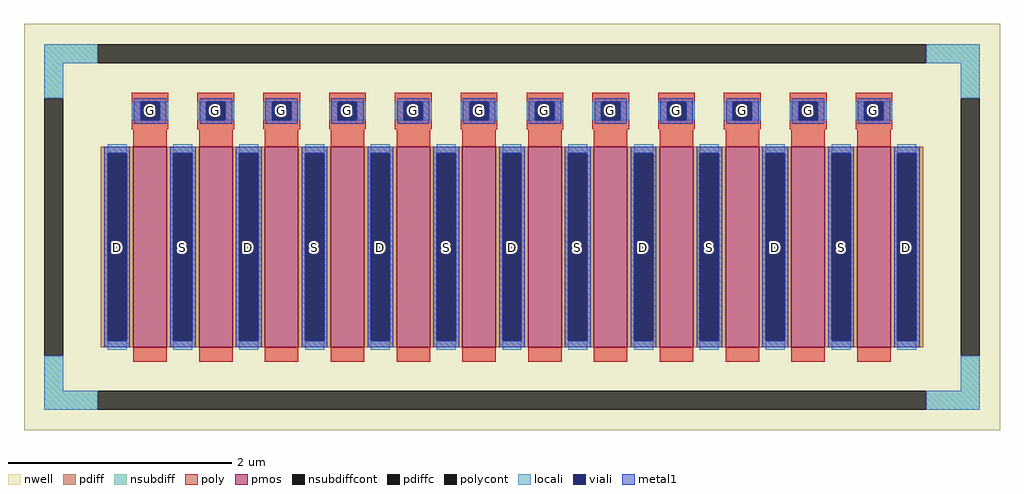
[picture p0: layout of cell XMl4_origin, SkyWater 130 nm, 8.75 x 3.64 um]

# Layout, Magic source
magic
tech sky130A
magscale 1 2
<< nwell >>
rect -875 -364 875 364
<< pmos >>
rect -679 -216 -619 144
rect -561 -216 -501 144
rect -443 -216 -383 144
rect -325 -216 -265 144
rect -207 -216 -147 144
rect -89 -216 -29 144
rect 29 -216 89 144
rect 147 -216 207 144
rect 265 -216 325 144
rect 383 -216 443 144
rect 501 -216 561 144
rect 619 -216 679 144
<< pdiff >>
rect -737 132 -679 144
rect -737 -204 -725 132
rect -691 -204 -679 132
rect -737 -216 -679 -204
rect -619 132 -561 144
rect -619 -204 -607 132
rect -573 -204 -561 132
rect -619 -216 -561 -204
rect -501 132 -443 144
rect -501 -204 -489 132
rect -455 -204 -443 132
rect -501 -216 -443 -204
rect -383 132 -325 144
rect -383 -204 -371 132
rect -337 -204 -325 132
rect -383 -216 -325 -204
rect -265 132 -207 144
rect -265 -204 -253 132
rect -219 -204 -207 132
rect -265 -216 -207 -204
rect -147 132 -89 144
rect -147 -204 -135 132
rect -101 -204 -89 132
rect -147 -216 -89 -204
rect -29 132 29 144
rect -29 -204 -17 132
rect 17 -204 29 132
rect -29 -216 29 -204
rect 89 132 147 144
rect 89 -204 101 132
rect 135 -204 147 132
rect 89 -216 147 -204
rect 207 132 265 144
rect 207 -204 219 132
rect 253 -204 265 132
rect 207 -216 265 -204
rect 325 132 383 144
rect 325 -204 337 132
rect 371 -204 383 132
rect 325 -216 383 -204
rect 443 132 501 144
rect 443 -204 455 132
rect 489 -204 501 132
rect 443 -216 501 -204
rect 561 132 619 144
rect 561 -204 573 132
rect 607 -204 619 132
rect 561 -216 619 -204
rect 679 132 737 144
rect 679 -204 691 132
rect 725 -204 737 132
rect 679 -216 737 -204
<< pdiffc >>
rect -725 -204 -691 132
rect -607 -204 -573 132
rect -489 -204 -455 132
rect -371 -204 -337 132
rect -253 -204 -219 132
rect -135 -204 -101 132
rect -17 -204 17 132
rect 101 -204 135 132
rect 219 -204 253 132
rect 337 -204 371 132
rect 455 -204 489 132
rect 573 -204 607 132
rect 691 -204 725 132
<< nsubdiff >>
rect -839 294 -743 328
rect 743 294 839 328
rect -839 231 -805 294
rect 805 231 839 294
rect -839 -294 -805 -231
rect 805 -294 839 -231
rect -839 -328 -743 -294
rect 743 -328 839 -294
<< nsubdiffcont >>
rect -743 294 743 328
rect -839 -231 -805 231
rect 805 -231 839 231
rect -743 -328 743 -294
<< poly >>
rect -682 225 -616 241
rect -682 191 -666 225
rect -632 191 -616 225
rect -682 175 -616 191
rect -564 225 -498 241
rect -564 191 -548 225
rect -514 191 -498 225
rect -564 175 -498 191
rect -446 225 -380 241
rect -446 191 -430 225
rect -396 191 -380 225
rect -446 175 -380 191
rect -328 225 -262 241
rect -328 191 -312 225
rect -278 191 -262 225
rect -328 175 -262 191
rect -210 225 -144 241
rect -210 191 -194 225
rect -160 191 -144 225
rect -210 175 -144 191
rect -92 225 -26 241
rect -92 191 -76 225
rect -42 191 -26 225
rect -92 175 -26 191
rect 26 225 92 241
rect 26 191 42 225
rect 76 191 92 225
rect 26 175 92 191
rect 144 225 210 241
rect 144 191 160 225
rect 194 191 210 225
rect 144 175 210 191
rect 262 225 328 241
rect 262 191 278 225
rect 312 191 328 225
rect 262 175 328 191
rect 380 225 446 241
rect 380 191 396 225
rect 430 191 446 225
rect 380 175 446 191
rect 498 225 564 241
rect 498 191 514 225
rect 548 191 564 225
rect 498 175 564 191
rect 616 225 682 241
rect 616 191 632 225
rect 666 191 682 225
rect 616 175 682 191
rect -679 144 -619 175
rect -561 144 -501 175
rect -443 144 -383 175
rect -325 144 -265 175
rect -207 144 -147 175
rect -89 144 -29 175
rect 29 144 89 175
rect 147 144 207 175
rect 265 144 325 175
rect 383 144 443 175
rect 501 144 561 175
rect 619 144 679 175
rect -679 -242 -619 -216
rect -561 -242 -501 -216
rect -443 -242 -383 -216
rect -325 -242 -265 -216
rect -207 -242 -147 -216
rect -89 -242 -29 -216
rect 29 -242 89 -216
rect 147 -242 207 -216
rect 265 -242 325 -216
rect 383 -242 443 -216
rect 501 -242 561 -216
rect 619 -242 679 -216
<< polycont >>
rect -666 191 -632 225
rect -548 191 -514 225
rect -430 191 -396 225
rect -312 191 -278 225
rect -194 191 -160 225
rect -76 191 -42 225
rect 42 191 76 225
rect 160 191 194 225
rect 278 191 312 225
rect 396 191 430 225
rect 514 191 548 225
rect 632 191 666 225
<< locali >>
rect -839 294 -743 328
rect 743 294 839 328
rect -839 231 -805 294
rect 805 231 839 294
rect -682 191 -666 225
rect -632 191 -616 225
rect -564 191 -548 225
rect -514 191 -498 225
rect -446 191 -430 225
rect -396 191 -380 225
rect -328 191 -312 225
rect -278 191 -262 225
rect -210 191 -194 225
rect -160 191 -144 225
rect -92 191 -76 225
rect -42 191 -26 225
rect 26 191 42 225
rect 76 191 92 225
rect 144 191 160 225
rect 194 191 210 225
rect 262 191 278 225
rect 312 191 328 225
rect 380 191 396 225
rect 430 191 446 225
rect 498 191 514 225
rect 548 191 564 225
rect 616 191 632 225
rect 666 191 682 225
rect -725 132 -691 148
rect -725 -220 -691 -204
rect -607 132 -573 148
rect -607 -220 -573 -204
rect -489 132 -455 148
rect -489 -220 -455 -204
rect -371 132 -337 148
rect -371 -220 -337 -204
rect -253 132 -219 148
rect -253 -220 -219 -204
rect -135 132 -101 148
rect -135 -220 -101 -204
rect -17 132 17 148
rect -17 -220 17 -204
rect 101 132 135 148
rect 101 -220 135 -204
rect 219 132 253 148
rect 219 -220 253 -204
rect 337 132 371 148
rect 337 -220 371 -204
rect 455 132 489 148
rect 455 -220 489 -204
rect 573 132 607 148
rect 573 -220 607 -204
rect 691 132 725 148
rect 691 -220 725 -204
rect -839 -294 -805 -231
rect 805 -294 839 -231
rect -839 -328 -743 -294
rect 743 -328 839 -294
<< viali >>
rect -666 191 -632 225
rect -548 191 -514 225
rect -430 191 -396 225
rect -312 191 -278 225
rect -194 191 -160 225
rect -76 191 -42 225
rect 42 191 76 225
rect 160 191 194 225
rect 278 191 312 225
rect 396 191 430 225
rect 514 191 548 225
rect 632 191 666 225
rect -725 -204 -691 132
rect -607 -204 -573 132
rect -489 -204 -455 132
rect -371 -204 -337 132
rect -253 -204 -219 132
rect -135 -204 -101 132
rect -17 -204 17 132
rect 101 -204 135 132
rect 219 -204 253 132
rect 337 -204 371 132
rect 455 -204 489 132
rect 573 -204 607 132
rect 691 -204 725 132
<< metal1 >>
rect -678 225 -620 231
rect -678 191 -666 225
rect -632 191 -620 225
rect -678 185 -620 191
rect -560 225 -502 231
rect -560 191 -548 225
rect -514 191 -502 225
rect -560 185 -502 191
rect -442 225 -384 231
rect -442 191 -430 225
rect -396 191 -384 225
rect -442 185 -384 191
rect -324 225 -266 231
rect -324 191 -312 225
rect -278 191 -266 225
rect -324 185 -266 191
rect -206 225 -148 231
rect -206 191 -194 225
rect -160 191 -148 225
rect -206 185 -148 191
rect -88 225 -30 231
rect -88 191 -76 225
rect -42 191 -30 225
rect -88 185 -30 191
rect 30 225 88 231
rect 30 191 42 225
rect 76 191 88 225
rect 30 185 88 191
rect 148 225 206 231
rect 148 191 160 225
rect 194 191 206 225
rect 148 185 206 191
rect 266 225 324 231
rect 266 191 278 225
rect 312 191 324 225
rect 266 185 324 191
rect 384 225 442 231
rect 384 191 396 225
rect 430 191 442 225
rect 384 185 442 191
rect 502 225 560 231
rect 502 191 514 225
rect 548 191 560 225
rect 502 185 560 191
rect 620 225 678 231
rect 620 191 632 225
rect 666 191 678 225
rect 620 185 678 191
rect -731 132 -685 144
rect -731 -204 -725 132
rect -691 -204 -685 132
rect -731 -216 -685 -204
rect -613 132 -567 144
rect -613 -204 -607 132
rect -573 -204 -567 132
rect -613 -216 -567 -204
rect -495 132 -449 144
rect -495 -204 -489 132
rect -455 -204 -449 132
rect -495 -216 -449 -204
rect -377 132 -331 144
rect -377 -204 -371 132
rect -337 -204 -331 132
rect -377 -216 -331 -204
rect -259 132 -213 144
rect -259 -204 -253 132
rect -219 -204 -213 132
rect -259 -216 -213 -204
rect -141 132 -95 144
rect -141 -204 -135 132
rect -101 -204 -95 132
rect -141 -216 -95 -204
rect -23 132 23 144
rect -23 -204 -17 132
rect 17 -204 23 132
rect -23 -216 23 -204
rect 95 132 141 144
rect 95 -204 101 132
rect 135 -204 141 132
rect 95 -216 141 -204
rect 213 132 259 144
rect 213 -204 219 132
rect 253 -204 259 132
rect 213 -216 259 -204
rect 331 132 377 144
rect 331 -204 337 132
rect 371 -204 377 132
rect 331 -216 377 -204
rect 449 132 495 144
rect 449 -204 455 132
rect 489 -204 495 132
rect 449 -216 495 -204
rect 567 132 613 144
rect 567 -204 573 132
rect 607 -204 613 132
rect 567 -216 613 -204
rect 685 132 731 144
rect 685 -204 691 132
rect 725 -204 731 132
rect 685 -216 731 -204
<< labels >>
flabel metal1 -649 208 -649 208 0 FreeSans 240 0 0 0 G
flabel metal1 -531 208 -531 208 0 FreeSans 240 0 0 0 G
flabel metal1 -413 208 -413 208 0 FreeSans 240 0 0 0 G
flabel metal1 -295 208 -295 208 0 FreeSans 240 0 0 0 G
flabel metal1 -177 208 -177 208 0 FreeSans 240 0 0 0 G
flabel metal1 -59 208 -59 208 0 FreeSans 240 0 0 0 G
flabel metal1 59 208 59 208 0 FreeSans 240 0 0 0 G
flabel metal1 177 208 177 208 0 FreeSans 240 0 0 0 G
flabel metal1 295 208 295 208 0 FreeSans 240 0 0 0 G
flabel metal1 413 208 413 208 0 FreeSans 240 0 0 0 G
flabel metal1 531 208 531 208 0 FreeSans 240 0 0 0 G
flabel metal1 649 208 649 208 0 FreeSans 240 0 0 0 G
flabel metal1 -708 -36 -708 -36 0 FreeSans 240 0 0 0 D
flabel metal1 -590 -36 -590 -36 0 FreeSans 240 0 0 0 S
flabel metal1 -472 -36 -472 -36 0 FreeSans 240 0 0 0 D
flabel metal1 -354 -36 -354 -36 0 FreeSans 240 0 0 0 S
flabel metal1 -236 -36 -236 -36 0 FreeSans 240 0 0 0 D
flabel metal1 -118 -36 -118 -36 0 FreeSans 240 0 0 0 S
flabel metal1 0 -36 0 -36 0 FreeSans 240 0 0 0 D
flabel metal1 118 -36 118 -36 0 FreeSans 240 0 0 0 S
flabel metal1 236 -36 236 -36 0 FreeSans 240 0 0 0 D
flabel metal1 354 -36 354 -36 0 FreeSans 240 0 0 0 S
flabel metal1 472 -36 472 -36 0 FreeSans 240 0 0 0 D
flabel metal1 590 -36 590 -36 0 FreeSans 240 0 0 0 S
flabel metal1 708 -36 708 -36 0 FreeSans 240 0 0 0 D
<< properties >>
string FIXED_BBOX -822 -311 822 311
<< end >>
